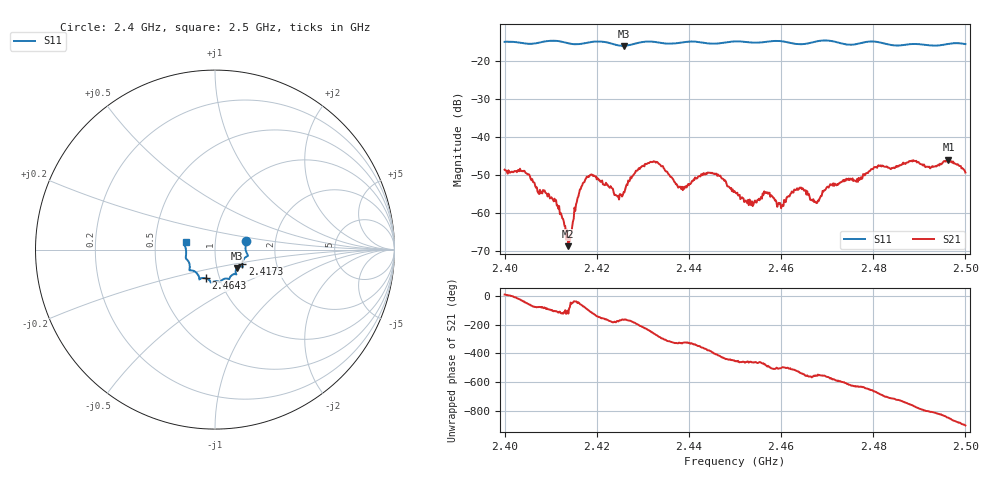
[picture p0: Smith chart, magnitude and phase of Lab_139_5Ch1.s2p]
# Hz S RI R 50
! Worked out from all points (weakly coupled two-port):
!   601 points, 2.4 GHz to 2.5 GHz, reference 50 ohm
!   highest |S21| = -45.98 dB at 2.4963 GHz (marker M1); lowest = -68.8 dB at 2.4138 GHz (marker M2)
!   lowest |S11| = -15.9 dB at 2.4258 GHz (marker M3), VSWR 1.38, Z = 62.3 - j13.3 ohm
!   |S11| at or under -10 dB: start of sweep to end of sweep
!   S12 and S22 are empty: the file has one direction only
!   S11 on the Smith chart (normalised r, x): 2.4 GHz: 1.41, +0.14; 2.4173 GHz: 1.34, -0.23; 2.4643 GHz: 0.86, -0.28; 2.5 GHz: 0.72, +0.06
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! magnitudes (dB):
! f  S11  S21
! 2.4 GHz  -14.9  -48.6
! 2.4047 GHz  -15.3  -49.5
! 2.4107 GHz  -14.6  -56.9
! 2.4138 GHz  -15.2  -68.8
! 2.4167 GHz  -15.4  -53.1
! 2.4173 GHz  -15.2  -51.8
! 2.4193 GHz  -14.8  -50.1
! 2.4243 GHz  -15.7  -55.4
! 2.4258 GHz  -15.9  -54.5
! 2.429 GHz  -15.1  -48.4
! 2.4333 GHz  -15.0  -46.9
! 2.4382 GHz  -15.1  -53.1
! 2.4445 GHz  -15.3  -49.4
! 2.45 GHz  -14.7  -54.4
! 2.4535 GHz  -15.0  -57.9
! 2.457 GHz  -14.8  -54.6
! 2.46 GHz  -14.7  -58.7
! 2.4643 GHz  -15.5  -53.3
! 2.4667 GHz  -15.0  -56.5
! 2.4833 GHz  -15.6  -48.0
! 2.4963 GHz  -15.4  -46.0
! 2.5 GHz  -15.5  -49.3
